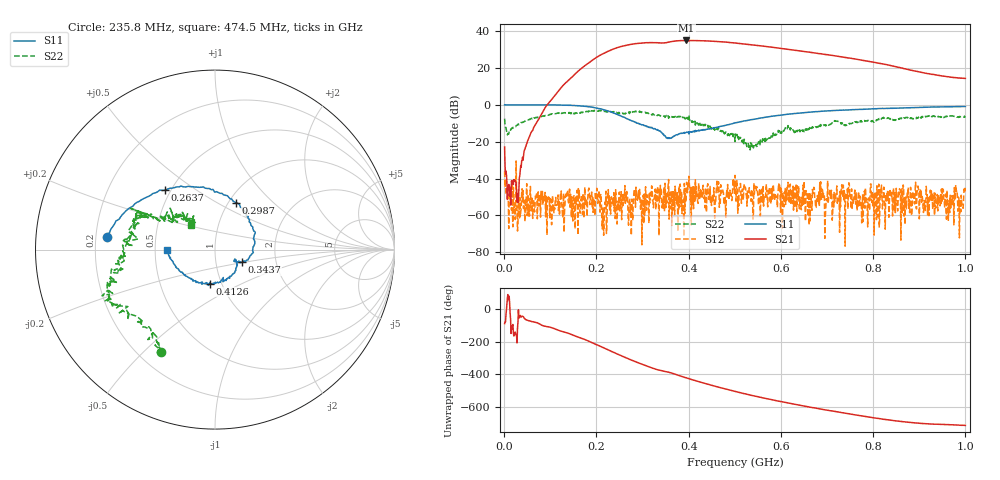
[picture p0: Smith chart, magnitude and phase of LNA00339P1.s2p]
! Created with skrf 1.9.0 (http://scikit-rf.org).
# Hz S RI R 50.0
!freq ReS11 ImS11 ReS21 ImS21 ReS12 ImS12 ReS22 ImS22
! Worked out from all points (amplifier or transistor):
!   1001 points, 1 MHz to 1 GHz, reference 50 ohm
!   highest |S21| = 34.9 dB at 394.6 MHz (marker M1)
!   |S21| within 3 dB of that: 258.3 MHz to 558.1 MHz (299.9 MHz wide, 73.5 % of centre)
!   unconditionally stable (mu >= 1): 3.53 MHz to 82.9 MHz; 220.8 MHz to 400.2 MHz; 401 MHz to end of sweep (the widest 3 of 30)
!   at 166.8 MHz: K = 1.07, MAG = 34.1 dB, |S12| = -51.9 dB
!   at 500.5 MHz: K = 1.03, MAG = 34.9 dB, |S12| = -38.3 dB
!   at 1 GHz: K = 3.24, MAG = 23.1 dB, |S12| = -47.9 dB
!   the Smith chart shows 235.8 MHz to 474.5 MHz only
!   S11 on the Smith chart (normalised r, x): 235.8 MHz: 0.25, +0.06; 263.7 MHz: 0.47, +0.38; 298.7 MHz: 1.08, +0.62; 343.7 MHz: 1.34, -0.20; 412.6 MHz: 0.88, -0.35; 474.5 MHz: 0.58, -0.00
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1000000  1 0.013  0.00225 -0.0715  -0.014 -0.00705  0.2764 0.3155
1.07893e8  0.5244 -0.8474  -0.7732 -1.479  -0.00115 -0.000229  0.4309 -0.3832
1.67833e8  -0.2535 -0.8943  -9.867 -0.3576  0.0036 0.000233  0.0219 -0.6325
2.06794e8  -0.6665 -0.4187  -15.52 15.23  -0.00274 -0.00068  -0.1817 -0.6689
2.35765e8  -0.6032 0.0708  -4.222 32.07  0.000791 -0.00285  -0.3006 -0.5691
2.63737e8  -0.279 0.3314  18.7 36.32  -0.000598 -0.00353  -0.4724 -0.3602
2.98702e8  0.1151 0.2621  43.73 18.42  0.000138 -7.93e-05  -0.5889 -0.2296
3.17683e8  0.2103 0.1196  48.71 2.435  -0.00341 0.00197  -0.5649 -0.1283
3.34666e8  0.2014 -0.0295  46.95 -10.58  -0.00163 0.0018  -0.5348 -0.0481
3.43657e8  0.1498 -0.0712  45.05 -15.37  -8.14e-05 0.00256  -0.5032 -0.0205
3.68632e8  0.1227 -0.075  43.1 -31.78  -0.00159 0.00402  -0.4488 0.1417
3.94606e8  0.0627 -0.1656  27.21 -48.73  0.00217 0.00162  -0.3848 0.1842
4.12588e8  -0.0281 -0.1897  13.11 -53.76  0.0046 0.00416  -0.2786 0.1589
4.41559e8  -0.1664 -0.14  -9.503 -53.41  0.00646 0.00323  -0.2069 0.1837
4.74526e8  -0.2689 -0.00185  -29.59 -41.42  0.00303 0.00329  -0.1351 0.1395
5.005e8  -0.291 0.1523  -38.84 -27.93  0.0105 0.00614  -0.0761 0.0658
5.4046e8  -0.1975 0.3534  -41.36 -6.704  0.000458 -0.00105  -0.0676 -0.00228
5.88412e8  0.0183 0.5034  -33.39 12.24  0.00218 -0.00249  -0.1315 -0.0692
6.67333e8  0.4004 0.499  -11.89 23.22  -0.000552 -0.00126  -0.2318 -0.0443
7.53247e8  0.6788 0.2859  4.549 17.55  -0.00124 -0.00508  -0.3104 0.0237
8.34166e8  0.8028 0.0262  9.021 7.801  -0.000374 0.000808  -0.4296 0.0635
1e9  0.7367 -0.5197  5.185 0.6251  0.00384 0.00114  -0.2177 0.424
